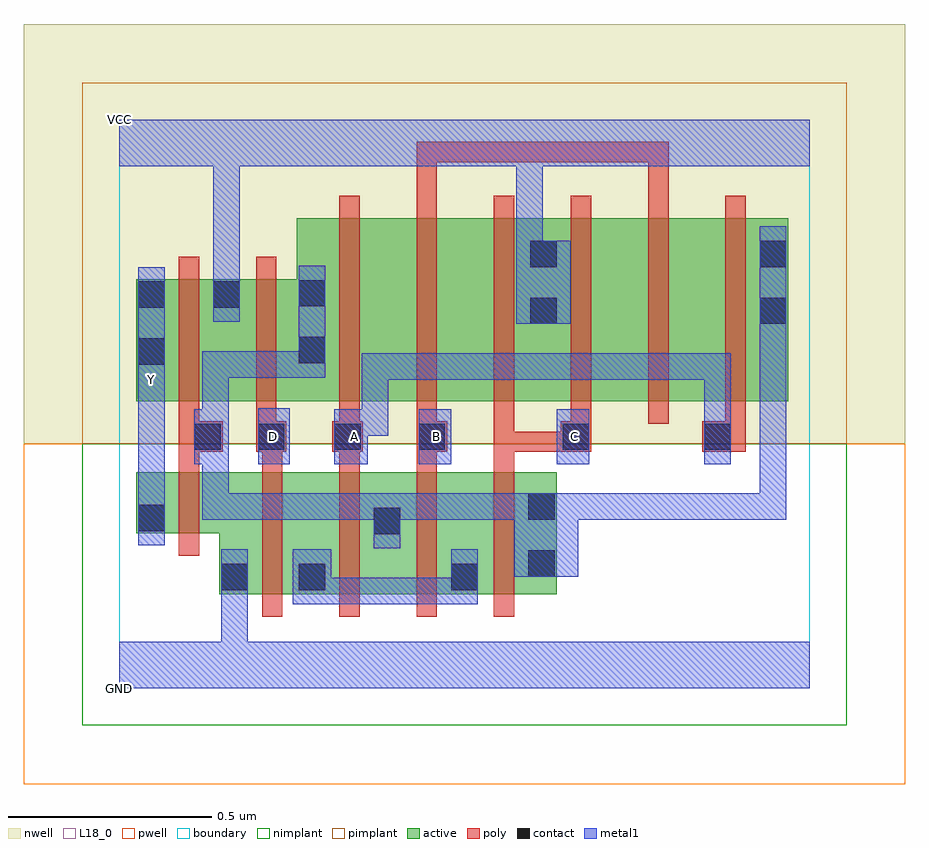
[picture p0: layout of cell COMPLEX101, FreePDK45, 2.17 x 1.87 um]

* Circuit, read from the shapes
.subckt COMPLEX101 A B C D GND VCC Y
M1 GND n1 Y VSUBS nfet w=0.15u l=0.05u
M2 n2 D GND VSUBS nfet w=0.3u l=0.05u
M3 n1 A n2 VSUBS nfet w=0.3u l=0.05u
M4 n2 B n1 VSUBS nfet w=0.3u l=0.05u
M5 n1 C n2 VSUBS nfet w=0.3u l=0.05u
M6 VCC n1 Y n3 pfet w=0.3u l=0.05u
M7 n1 D VCC n3 pfet w=0.3u l=0.05u
M8 n4 A n1 n3 pfet w=0.45u l=0.05u
M9 n5 B n4 n3 pfet w=0.45u l=0.05u
M10 VCC C n5 n3 pfet w=0.45u l=0.05u
M11 n6 C VCC n3 pfet w=0.45u l=0.05u
M12 n7 B n6 n3 pfet w=0.45u l=0.05u
M13 n1 A n7 n3 pfet w=0.45u l=0.05u
.ends

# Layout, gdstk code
import gdstk
lib = gdstk.Library(unit=1e-6, precision=1e-09)
def R(c, l, rs):  # rectangles x0, y0, x1, y1
    for r in rs: c.add(gdstk.rectangle(r[:2], r[2:], *l))
def A(c, l, x, y, w, h, nx, ny, dx, dy):  # array of equal rectangles
    R(c, l, [(x+i*dx, y+j*dy, x+i*dx+w, y+j*dy+h) for i in range(nx) for j in range(ny)])
active = (1, 0)
pwell = (2, 0)
nwell = (3, 0)
nimplant = (4, 0)
pimplant = (5, 0)
poly = (9, 0)
contact = (10, 0)
metal1 = (11, 0)
L18_0 = (18, 0)
boundary = (235, 0)

complex101 = lib.new_cell('COMPLEX101')
R(complex101, active, [(0.247,0.232,0.512,0.532), (0.247,0.232,0.322,0.382), (0.437,0.232,0.512,0.392), (0.437,0.232,0.697,0.532), (0.622,0.232,0.887,0.532), (0.812,0.232,1.077,0.532), (0.812,0.232,0.887,0.392), (1.002,0.232,1.077,0.532), (0.622,0.247,0.697,0.45), (0.042,0.382,0.117,0.532), (0.042,0.382,0.322,0.532), (0.042,0.707,0.117,1.007), (0.042,0.707,0.302,1.007), (0.227,0.707,0.512,1.007), (0.437,0.707,0.662,1.157), (0.437,0.707,0.512,1.157), (0.662,0.707,0.852,1.157), (0.852,0.707,1.082,1.157), (1.007,0.707,1.082,1.107), (1.007,0.707,1.232,1.157), (1.232,0.707,1.422,1.157), (1.422,0.707,1.647,1.157), (1.572,0.707,1.647,1.107), (0.227,0.722,0.302,1.007)])
R(complex101, pwell, [(-0.235,-0.235,1.935,0.602)])
R(complex101, nwell, [(-0.235,0.602,1.935,1.635)])
R(complex101, nimplant, [(-0.09,-0.09,1.79,0.602)])
R(complex101, pimplant, [(-0.09,0.602,1.79,1.49)])
A(complex101, poly, 0.352, 0.177, 0.05, 0.41, 4, 1, 0.19, 0)
A(complex101, poly, 0.352, 0.537, 0.05, 0.095, 4, 1, 0.19, 0)
A(complex101, poly, 0.732, 0.607, 0.05, 0.095, 3, 1, 0.38, 0)
A(complex101, poly, 0.542, 0.652, 0.05, 0.56, 6, 1, 0.19, 0)
R(complex101, poly, [(0.147,0.327,0.197,0.587), (0.147,0.537,0.197,0.632), (0.147,0.582,0.255,0.657), (0.337,0.582,0.412,0.657), (0.525,0.582,0.6,0.657), (0.732,0.582,0.807,0.657), (0.922,0.582,0.972,0.632), (0.922,0.582,1.137,0.632), (0.922,0.582,0.972,0.702), (1.087,0.582,1.137,0.632), (1.087,0.582,1.137,0.632), (1.087,0.582,1.162,0.657), (1.435,0.582,1.542,0.657), (0.147,0.607,0.197,0.702), (0.337,0.607,0.387,0.702), (0.542,0.607,0.592,0.702), (0.147,0.652,0.197,1.062), (0.337,0.652,0.387,1.062), (0.732,1.162,0.782,1.345), (1.302,1.162,1.352,1.345), (0.732,1.295,0.782,1.345), (0.732,1.295,0.915,1.345), (0.865,1.295,0.915,1.345), (0.865,1.295,0.915,1.345), (0.865,1.295,0.915,1.345), (0.865,1.295,1.137,1.345), (1.087,1.295,1.137,1.345), (1.087,1.295,1.22,1.345), (1.17,1.295,1.22,1.345), (1.17,1.295,1.27,1.345), (1.22,1.295,1.352,1.345), (1.22,1.295,1.27,1.345), (1.302,1.295,1.352,1.345)])
R(complex101, contact, [(0.252,0.242,0.317,0.307), (0.442,0.242,0.507,0.307), (0.817,0.242,0.882,0.307), (1.007,0.275,1.072,0.34), (0.627,0.38,0.692,0.445), (0.047,0.387,0.112,0.452), (1.007,0.415,1.072,0.48), (0.185,0.587,0.25,0.652), (0.342,0.587,0.407,0.652), (0.53,0.587,0.595,0.652), (0.737,0.587,0.802,0.652), (1.092,0.587,1.157,0.652), (1.44,0.587,1.505,0.652), (0.047,0.797,0.112,0.862), (0.442,0.8,0.507,0.865), (1.012,0.897,1.077,0.962), (1.577,0.897,1.642,0.962), (0.047,0.937,0.112,1.002), (0.232,0.937,0.297,1.002), (0.442,0.94,0.507,1.005), (1.012,1.037,1.077,1.102), (1.577,1.037,1.642,1.102)])
R(complex101, metal1, [(0,0,1.7,0.115), (0.252,0.05,0.317,0.115), (0.252,0.05,0.317,0.115), (0.252,0.05,0.317,0.272), (0.252,0.207,0.317,0.342), (0.427,0.207,0.522,0.342), (0.457,0.207,0.595,0.272), (0.53,0.207,0.595,0.272), (0.53,0.207,0.692,0.272), (0.627,0.207,0.692,0.272), (0.627,0.207,0.8,0.272), (0.735,0.207,0.8,0.272), (0.735,0.207,0.882,0.272), (0.817,0.207,0.882,0.342), (0.972,0.275,1.13,0.48), (0.627,0.345,0.692,0.48), (0.047,0.352,0.112,0.487), (0.205,0.415,0.27,0.48), (0.205,0.415,0.457,0.48), (0.205,0.415,0.27,0.685), (0.392,0.415,0.457,0.48), (0.392,0.415,0.457,0.48), (0.392,0.415,0.457,0.48), (0.392,0.415,0.662,0.48), (0.597,0.415,0.662,0.48), (0.597,0.415,0.692,0.48), (0.627,0.415,0.8,0.48), (0.735,0.415,0.8,0.48), (0.735,0.415,0.852,0.48), (0.787,0.415,0.852,0.48), (0.787,0.415,0.997,0.48), (0.932,0.415,0.997,0.48), (0.932,0.415,1.037,0.48), (1.065,0.415,1.135,0.48), (1.07,0.415,1.135,0.48), (1.07,0.415,1.272,0.48), (1.207,0.415,1.272,0.48), (1.207,0.415,1.367,0.48), (1.302,0.415,1.367,0.48), (1.302,0.415,1.505,0.48), (1.44,0.415,1.505,0.48), (1.44,0.415,1.535,0.48), (1.47,0.415,1.535,0.48), (1.47,0.415,1.642,0.48), (1.577,0.415,1.642,0.927), (1.577,0.415,1.642,0.48), (1.577,0.415,1.642,0.48), (1.577,0.415,1.642,0.48), (0.047,0.422,0.112,0.757), (0.185,0.552,0.25,0.687), (0.342,0.552,0.42,0.69), (0.53,0.552,0.612,0.687), (0.737,0.552,0.817,0.687), (1.077,0.552,1.157,0.687), (1.44,0.552,1.505,0.687), (0.185,0.62,0.27,0.685), (0.205,0.62,0.27,0.685), (0.205,0.62,0.27,0.83), (0.547,0.622,0.662,0.687), (0.597,0.622,0.662,0.687), (0.597,0.622,0.662,0.825), (1.44,0.622,1.505,0.687), (1.44,0.622,1.505,0.687), (1.44,0.622,1.505,0.825), (0.047,0.692,0.112,0.827), (0.597,0.76,0.662,0.825), (0.597,0.76,0.805,0.825), (0.74,0.76,0.805,0.825), (0.74,0.76,0.83,0.825), (0.765,0.76,0.83,0.825), (0.765,0.76,0.942,0.825), (0.877,0.76,0.942,0.825), (0.877,0.76,0.99,0.825), (0.925,0.76,0.99,0.825), (0.925,0.76,1.135,0.825), (1.07,0.76,1.135,0.825), (1.07,0.76,1.295,0.825), (1.23,0.76,1.295,0.825), (1.23,0.76,1.295,0.825), (1.23,0.76,1.295,0.825), (1.23,0.76,1.505,0.825), (1.44,0.76,1.505,0.825), (0.047,0.762,0.112,1.037), (0.047,0.762,0.112,0.827), (0.205,0.765,0.27,0.83), (0.205,0.765,0.457,0.83), (0.392,0.765,0.457,0.83), (0.392,0.765,0.507,0.83), (0.442,0.765,0.507,1.04), (1.577,0.862,1.642,1.137), (0.977,0.897,1.112,1.102), (0.232,0.902,0.297,1.037), (0.232,0.972,0.297,1.037), (0.232,0.972,0.297,1.037), (0.232,0.972,0.297,1.037), (0.232,0.972,0.297,1.037), (0.232,0.972,0.297,1.35), (0.977,1.037,1.042,1.35), (0,1.285,1.7,1.4), (0.977,1.285,1.042,1.35), (0.977,1.285,1.042,1.35)])
A(complex101, L18_0, 0.347, 0.587, 0.065, 0.065, 3, 1, 0.2, 0)
R(complex101, L18_0, [(0,0,1.7,0.115), (0.252,0.05,0.317,0.115), (0.252,0.05,0.317,0.115), (0.252,0.05,0.317,0.272), (0.252,0.207,0.317,0.342), (0.047,0.352,0.112,0.487), (0.047,0.422,0.112,0.757), (0.342,0.552,0.42,0.69), (0.53,0.552,0.612,0.687), (0.737,0.552,0.817,0.687), (1.077,0.552,1.157,0.687), (1.44,0.552,1.505,0.687), (1.087,0.587,1.152,0.652), (0.547,0.622,0.662,0.687), (0.597,0.622,0.662,0.687), (0.597,0.622,0.662,0.825), (1.44,0.622,1.505,0.687), (1.44,0.622,1.505,0.687), (1.44,0.622,1.505,0.825), (0.047,0.692,0.112,0.827), (0.047,0.727,0.112,0.792), (0.597,0.76,0.662,0.825), (0.597,0.76,0.805,0.825), (0.74,0.76,0.805,0.825), (0.74,0.76,0.83,0.825), (0.765,0.76,0.83,0.825), (0.765,0.76,0.942,0.825), (0.877,0.76,0.942,0.825), (0.877,0.76,0.99,0.825), (0.925,0.76,0.99,0.825), (0.925,0.76,1.135,0.825), (1.07,0.76,1.135,0.825), (1.07,0.76,1.295,0.825), (1.23,0.76,1.295,0.825), (1.23,0.76,1.295,0.825), (1.23,0.76,1.295,0.825), (1.23,0.76,1.505,0.825), (1.44,0.76,1.505,0.825), (0.047,0.762,0.112,1.037), (0.047,0.762,0.112,0.827), (0.977,0.897,1.112,1.102), (0.232,0.902,0.297,1.037), (0.232,0.972,0.297,1.037), (0.232,0.972,0.297,1.037), (0.232,0.972,0.297,1.037), (0.232,0.972,0.297,1.037), (0.232,0.972,0.297,1.35), (0.977,1.037,1.042,1.35), (0,1.285,1.7,1.4), (0.977,1.285,1.042,1.35), (0.977,1.285,1.042,1.35)])
R(complex101, boundary, [(0,0,1.7,1.4)])
complex101.add(gdstk.Label('A', (0.58,0.62), layer=11, texttype=0))
complex101.add(gdstk.Label('B', (0.78,0.62), layer=11, texttype=0))
complex101.add(gdstk.Label('C', (1.12,0.62), layer=11, texttype=0))
complex101.add(gdstk.Label('D', (0.38,0.62), layer=11, texttype=0))
complex101.add(gdstk.Label('Y', (0.08,0.76), layer=11, texttype=0))
complex101.add(gdstk.Label('VCC', (0,1.4), layer=11, texttype=0))
complex101.add(gdstk.Label('GND', (0,0), layer=11, texttype=0))

lib.write_gds('COMPLEX101.gds')
